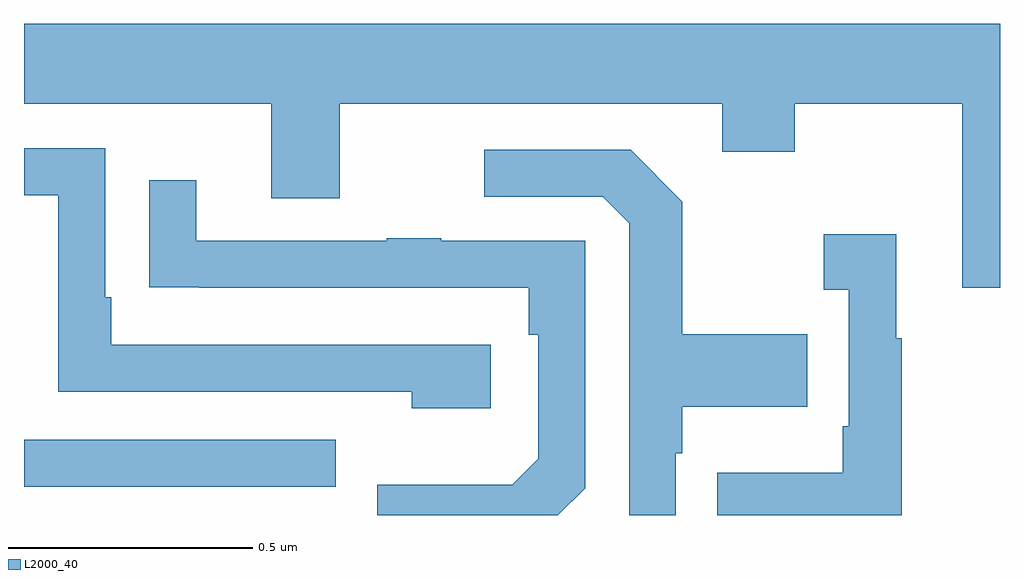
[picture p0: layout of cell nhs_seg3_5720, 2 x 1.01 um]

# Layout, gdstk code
import gdstk
lib = gdstk.Library(unit=1e-6, precision=1e-09)
def R(c, l, rs):  # rectangles x0, y0, x1, y1
    for r in rs: c.add(gdstk.rectangle(r[:2], r[2:], *l))
def P(c, l, *ps):  # polygons
    for p in ps: c.add(gdstk.Polygon(p, *l))
L2000_40 = (2000, 40)

nhs_seg3_5720 = lib.new_cell('nhs_seg3_5720')
R(nhs_seg3_5720, L2000_40, [(182,705.459,182.639,705.555)])
P(nhs_seg3_5720, L2000_40, [(182,706.244),(182.507,706.244),(182.507,706.05),(182.647,706.05),(182.647,706.244),(183.431,706.244),(183.431,706.145),(183.579,706.145),(183.579,706.244),(183.923,706.244),(183.923,705.867),(184,705.867),(184,706.408),(182,706.408)],
  [(182.956,705.75),(182.179,705.75),(182.179,705.847),(182.166,705.847),(182.166,706.152),(182,706.152),(182,706.056),(182.07,706.056),(182.07,705.654),(182.795,705.654),(182.795,705.62),(182.956,705.62)],
  [(183.336,705.527),(183.349,705.527),(183.349,705.623),(183.605,705.623),(183.605,705.771),(183.349,705.771),(183.349,706.043),(183.243,706.149),(182.943,706.149),(182.943,706.053),(183.186,706.053),(183.24,705.999),(183.24,705.4),(183.336,705.4)],
  [(183.15,705.456),(183.15,705.963),(182.855,705.963),(182.855,705.968),(182.743,705.968),(182.743,705.963),(182.353,705.963),(182.353,706.087),(182.257,706.087),(182.257,705.868),(182.359,705.868),(182.359,705.867),(183.034,705.867),(183.034,705.77),(183.054,705.77),(183.054,705.516),(183.001,705.463),(182.724,705.463),(182.724,705.4),(183.094,705.4)],
  [(183.799,705.763),(183.787,705.763),(183.787,705.976),(183.639,705.976),(183.639,705.863),(183.69,705.863),(183.69,705.583),(183.678,705.583),(183.678,705.487),(183.421,705.487),(183.421,705.4),(183.799,705.4)])

lib.write_gds('nhs_seg3_5720.gds')
